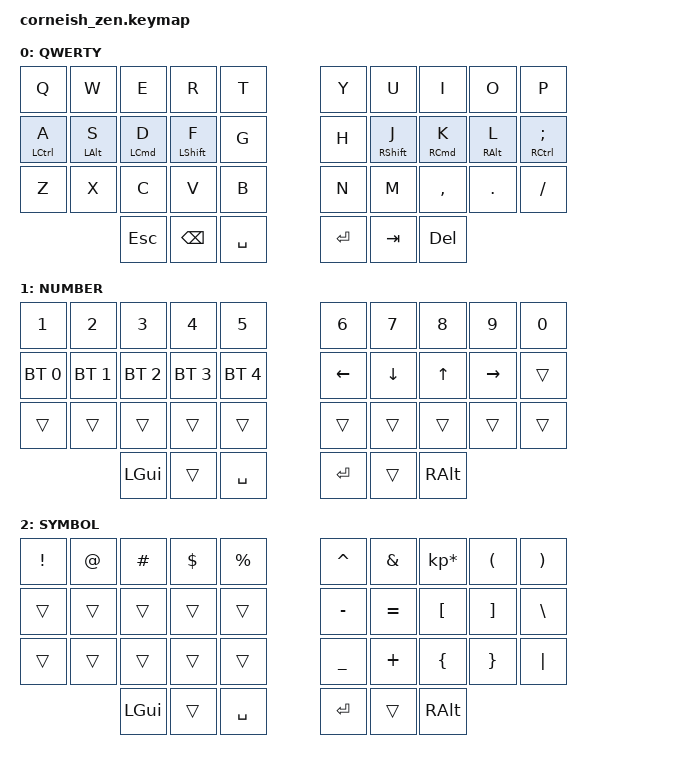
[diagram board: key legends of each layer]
#include <behaviors.dtsi>
#include <dt-bindings/zmk/keys.h>
#include <dt-bindings/zmk/bt.h>

/ {
  chosen {
    // zmk,matrix_transform = &default_transform;
    zmk,matrix_transform = &five_column_transform;
  };
};
&mt {
    tapping-term-ms = <150>;
    flavor = "tap-preferred" // similar to IGNORE_MOD_TAP in QMK
};

/ {
        keymap {
                compatible = "zmk,keymap";

                default_layer {
                        label = "QWERTY";
// ------------------------------------------------------------------
// |  Q  |  W  |  E  |  R  |  T  |   |  Y  |  U   |  I  |  O  |  P  |
// |  A  |  S  |  D  |  F  |  G  |   |  H  |  J   |  K  |  L  |  ;  |
// |  Z  |  X  |  C  |  V  |  B  |   |  N  |  M   |  ,  |  .  |  /  |
//             | ESC | BSP | SPC |   | ENT | TAB  | DEL |
                        bindings = <
&kp Q           &kp W           &kp E           &kp R           &kp T                       &kp Y       &kp U           &kp I               &kp O       &kp P
&mt LCTRL A     &mt LALT S      &mt LCMD D      &mt LSHIFT F    &kp G                       &kp H       &mt RSHIFT J    &mt RCMD K          &mt RALT L  &mt RCTRL SEMI
&kp Z           &kp X           &kp C           &kp V           &kp B                       &kp N       &kp M           &kp COMMA           &kp DOT     &kp FSLH
                                &kp ESC         &kp BSPC        &kp SPACE                   &kp ENTER   &kp TAB         &kp DEL
>;
                };

                lower_layer {
                        label = "NUMBER";
// -----------------------------------------------------------------
// |  1  |  2  |  3  |  4  |  5  |   |  6  |  7  |  8  |  9  |  0  |
// | BT1 | BT2 | BT3 | BT4 | BT5 |   | LFT | DWN |  UP | RGT |     |
// |     |     |     |     |     |   |     |     |     |     |     |
//             | GUI |     | SPC |   | ENT |     | ALT |
                        bindings = <
&kp N1          &kp N2          &kp N3          &kp N4          &kp N5                      &kp N6      &kp N7          &kp N8              &kp N9      &kp N0
&bt BT_SEL 0    &bt BT_SEL 1    &bt BT_SEL 2    &bt BT_SEL 3    &bt BT_SEL 4                &kp LEFT    &kp DOWN        &kp UP              &kp RIGHT   &trans
&trans          &trans          &trans          &trans          &trans                      &trans      &trans          &trans              &trans      &trans
                                &kp LGUI        &trans          &kp SPACE                   &kp RET     &trans          &kp RALT
                        >;
                };

                raise_layer {
                        label = "SYMBOL";
// -----------------------------------------------------------------
// |  !  |  @  |  #  |  $  |  %  |   |  ^  |  &  |  *  |  (  |  )  |
// |     |     |     |     |     |   |  -  |  =  |  [  |  ]  |  \  |
// |     |     |     |     |     |   |  _  |  +  |  {  |  }  | "|" |
//             | GUI |     | SPC |   | ENT |     | ALT |
                        bindings = <
&kp EXCL        &kp AT          &kp HASH        &kp DLLR        &kp PRCNT                   &kp CARET   &kp AMPS        &kp KP_MULTIPLY     &kp LPAR    &kp RPAR
&trans          &trans          &trans          &trans          &trans                      &kp MINUS   &kp EQUAL       &kp LBKT            &kp RBKT    &kp BSLH
&trans          &trans          &trans          &trans          &trans                      &kp UNDER   &kp PLUS        &kp LBRC            &kp RBRC    &kp PIPE
                                &kp LGUI        &trans          &kp SPACE                   &kp RET     &trans          &kp RALT
                        >;
                };
        };
};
